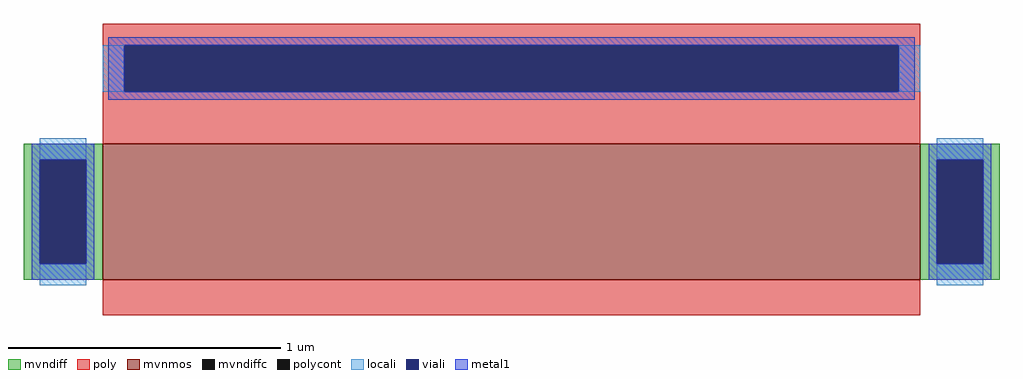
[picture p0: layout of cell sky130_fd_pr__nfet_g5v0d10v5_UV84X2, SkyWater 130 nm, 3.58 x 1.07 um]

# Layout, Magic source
magic
tech sky130A
magscale 1 2
<< mvnmos >>
rect -300 -81 300 19
<< mvndiff >>
rect -358 7 -300 19
rect -358 -69 -346 7
rect -312 -69 -300 7
rect -358 -81 -300 -69
rect 300 7 358 19
rect 300 -69 312 7
rect 346 -69 358 7
rect 300 -81 358 -69
<< mvndiffc >>
rect -346 -69 -312 7
rect 312 -69 346 7
<< poly >>
rect -300 91 300 107
rect -300 57 -284 91
rect 284 57 300 91
rect -300 19 300 57
rect -300 -107 300 -81
<< polycont >>
rect -284 57 284 91
<< locali >>
rect -300 57 -284 91
rect 284 57 300 91
rect -346 7 -312 23
rect -346 -85 -312 -69
rect 312 7 346 23
rect 312 -85 346 -69
<< viali >>
rect -284 57 284 91
rect -346 -69 -312 7
rect 312 -69 346 7
<< metal1 >>
rect -296 91 296 97
rect -296 57 -284 91
rect 284 57 296 91
rect -296 51 296 57
rect -352 7 -306 19
rect -352 -69 -346 7
rect -312 -69 -306 7
rect -352 -81 -306 -69
rect 306 7 352 19
rect 306 -69 312 7
rect 346 -69 352 7
rect 306 -81 352 -69
<< properties >>
string gencell sky130_fd_pr__nfet_g5v0d10v5
string library sky130
string parameters w 0.5 l 3 m 1 nf 1 diffcov 100 polycov 100 guard 0 glc 1 grc 1 gtc 1 gbc 1 tbcov 100 rlcov 100 topc 1 botc 0 poverlap 0 doverlap 1 lmin 0.50 wmin 0.42 compatible {sky130_fd_pr__nfet_01v8 sky130_fd_pr__nfet_01v8_lvt  sky130_fd_bs_flash__special_sonosfet_star  sky130_fd_pr__nfet_g5v0d10v5 sky130_fd_pr__nfet_05v0_nvt  sky130_fd_pr__nfet_03v3_nvt} full_metal 1 viasrc 100 viadrn 100 viagate 100 viagb 0 viagr 0 viagl 0 viagt 0
<< end >>
